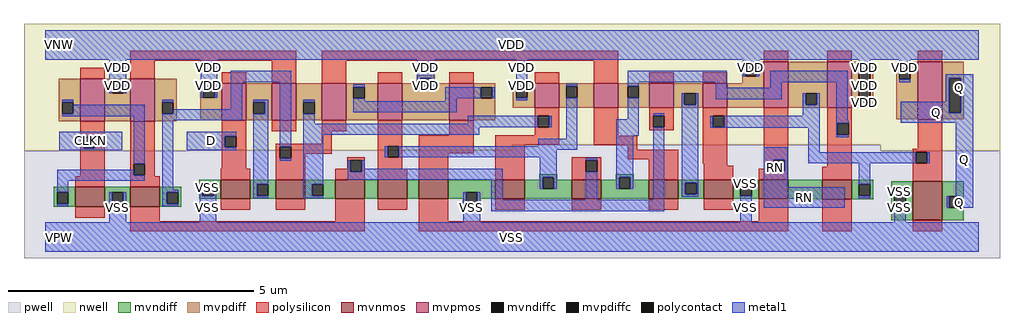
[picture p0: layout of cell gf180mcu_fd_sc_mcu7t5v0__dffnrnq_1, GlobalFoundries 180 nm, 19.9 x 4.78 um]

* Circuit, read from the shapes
.subckt gf180mcu_fd_sc_mcu7t5v0__dffnrnq_1 D RN CLKN Q VDD VNW VPW VSS
XM1 VSS CLKN n1 VPW nfet_06v0 w=0.405u l=0.6u
XM2 n2 n1 VSS VPW nfet_06v0 w=0.405u l=0.6u
XM3 n3 D VSS VPW nfet_06v0 w=0.39u l=0.6u
XM4 n4 n2 n3 VPW nfet_06v0 w=0.39u l=0.6u
XM5 n5 n1 n4 VPW nfet_06v0 w=0.39u l=0.6u
XM6 n6 n7 n5 VPW nfet_06v0 w=0.39u l=0.6u
XM7 VSS RN n6 VPW nfet_06v0 w=0.39u l=0.6u
XM8 n7 n4 VSS VPW nfet_06v0 w=0.39u l=0.6u
XM9 n8 n1 n7 VPW nfet_06v0 w=0.39u l=0.6u
XM10 n9 n2 n8 VPW nfet_06v0 w=0.39u l=0.6u
XM11 VSS n10 n9 VPW nfet_06v0 w=0.39u l=0.6u
XM12 n11 RN VSS VPW nfet_06v0 w=0.39u l=0.6u
XM13 n10 n8 n11 VPW nfet_06v0 w=0.4u l=0.6u
XM14 Q n10 VSS VPW nfet_06v0 w=0.795u l=0.6u
XM15 VDD CLKN n1 VNW pfet_06v0 w=0.865u l=0.5u
XM16 n2 n1 VDD VNW pfet_06v0 w=0.865u l=0.5u
XM17 n3 D VDD VNW pfet_06v0 w=0.76u l=0.5u
XM18 n4 n1 n3 VNW pfet_06v0 w=0.76u l=0.5u
XM19 n12 n2 n4 VNW pfet_06v0 w=0.76u l=0.5u
XM20 VDD n7 n12 VNW pfet_06v0 w=0.76u l=0.5u
XM21 n12 RN VDD VNW pfet_06v0 w=0.76u l=0.5u
XM22 n7 n4 VDD VNW pfet_06v0 w=0.505u l=0.5u
XM23 n8 n2 n7 VNW pfet_06v0 w=0.505u l=0.5u
XM24 n9 n1 n8 VNW pfet_06v0 w=0.505u l=0.5u
XM25 VDD n10 n9 VNW pfet_06v0 w=0.505u l=0.5u
XM26 n10 RN VDD VNW pfet_06v0 w=0.94u l=0.5u
XM27 VDD n8 n10 VNW pfet_06v0 w=0.94u l=0.5u
XM28 Q n10 VDD VNW pfet_06v0 w=1.175u l=0.5u
.ends

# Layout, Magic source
magic
tech gf180mcuD
magscale 1 10
<< nwell >>
rect -86 377 3894 870
rect -86 354 1905 377
rect -86 352 592 354
rect 3408 352 3894 377
<< pwell >>
rect 1905 354 3408 377
rect 592 352 3408 354
rect -86 -86 3894 352
<< mvnmos >>
rect 124 124 244 205
rect 348 124 468 205
rect 716 156 836 234
rect 940 156 1060 234
rect 1184 156 1304 234
rect 1356 156 1476 234
rect 1524 156 1644 234
rect 1836 156 1956 234
rect 2148 156 2268 234
rect 2462 156 2582 234
rect 2686 156 2806 234
rect 2910 156 3030 234
rect 3170 154 3290 234
rect 3538 69 3658 228
<< mvpmos >>
rect 144 472 244 645
rect 348 472 448 645
rect 720 476 820 628
rect 924 476 1024 628
rect 1128 476 1228 628
rect 1356 476 1456 628
rect 1648 476 1748 628
rect 1996 527 2096 628
rect 2238 527 2338 628
rect 2463 527 2563 628
rect 2682 527 2782 628
rect 2930 527 3030 715
rect 3190 527 3290 715
rect 3558 481 3658 716
<< mvndiff >>
rect 2016 244 2088 257
rect 2016 234 2029 244
rect 628 215 716 234
rect 36 183 124 205
rect 36 137 49 183
rect 95 137 124 183
rect 36 124 124 137
rect 244 183 348 205
rect 244 137 273 183
rect 319 137 348 183
rect 244 124 348 137
rect 468 183 556 205
rect 468 137 497 183
rect 543 137 556 183
rect 628 169 641 215
rect 687 169 716 215
rect 628 156 716 169
rect 836 215 940 234
rect 836 169 865 215
rect 911 169 940 215
rect 836 156 940 169
rect 1060 215 1184 234
rect 1060 169 1089 215
rect 1135 169 1184 215
rect 1060 156 1184 169
rect 1304 156 1356 234
rect 1476 156 1524 234
rect 1644 183 1836 234
rect 1644 156 1717 183
rect 468 124 556 137
rect 1704 137 1717 156
rect 1763 156 1836 183
rect 1956 198 2029 234
rect 2075 234 2088 244
rect 2328 244 2400 257
rect 2328 234 2341 244
rect 2075 198 2148 234
rect 1956 156 2148 198
rect 2268 198 2341 234
rect 2387 234 2400 244
rect 2387 198 2462 234
rect 2268 156 2462 198
rect 2582 221 2686 234
rect 2582 175 2611 221
rect 2657 175 2686 221
rect 2582 156 2686 175
rect 2806 215 2910 234
rect 2806 169 2835 215
rect 2881 169 2910 215
rect 2806 156 2910 169
rect 3030 156 3170 234
rect 1763 137 1776 156
rect 1704 124 1776 137
rect 3090 154 3170 156
rect 3290 215 3378 234
rect 3290 169 3319 215
rect 3365 169 3378 215
rect 3290 154 3378 169
rect 3450 166 3538 228
rect 3450 120 3463 166
rect 3509 120 3538 166
rect 3450 69 3538 120
rect 3658 166 3746 228
rect 3658 120 3687 166
rect 3733 120 3746 166
rect 3658 69 3746 120
<< mvpdiff >>
rect 56 550 144 645
rect 56 504 69 550
rect 115 504 144 550
rect 56 472 144 504
rect 244 632 348 645
rect 244 586 273 632
rect 319 586 348 632
rect 244 472 348 586
rect 448 550 536 645
rect 1516 647 1588 660
rect 1516 628 1529 647
rect 448 504 477 550
rect 523 504 536 550
rect 448 472 536 504
rect 632 615 720 628
rect 632 569 645 615
rect 691 569 720 615
rect 632 476 720 569
rect 820 549 924 628
rect 820 503 849 549
rect 895 503 924 549
rect 820 476 924 503
rect 1024 549 1128 628
rect 1024 503 1053 549
rect 1099 503 1128 549
rect 1024 476 1128 503
rect 1228 612 1356 628
rect 1228 566 1257 612
rect 1303 566 1356 612
rect 1228 476 1356 566
rect 1456 601 1529 628
rect 1575 628 1588 647
rect 2842 702 2930 715
rect 2842 656 2855 702
rect 2901 656 2930 702
rect 2842 628 2930 656
rect 1575 601 1648 628
rect 1456 476 1648 601
rect 1748 612 1836 628
rect 1748 566 1777 612
rect 1823 566 1836 612
rect 1748 476 1836 566
rect 1908 615 1996 628
rect 1908 569 1921 615
rect 1967 569 1996 615
rect 1908 527 1996 569
rect 2096 615 2238 628
rect 2096 569 2125 615
rect 2171 569 2238 615
rect 2096 527 2238 569
rect 2338 615 2463 628
rect 2338 569 2375 615
rect 2421 569 2463 615
rect 2338 527 2463 569
rect 2563 586 2682 628
rect 2563 540 2607 586
rect 2653 540 2682 586
rect 2563 527 2682 540
rect 2782 527 2930 628
rect 3030 586 3190 715
rect 3030 540 3101 586
rect 3147 540 3190 586
rect 3030 527 3190 540
rect 3290 689 3378 715
rect 3290 549 3319 689
rect 3365 549 3378 689
rect 3290 527 3378 549
rect 3470 689 3558 716
rect 3470 643 3483 689
rect 3529 643 3558 689
rect 3470 481 3558 643
rect 3658 647 3746 716
rect 3658 507 3687 647
rect 3733 507 3746 647
rect 3658 481 3746 507
<< mvndiffc >>
rect 49 137 95 183
rect 273 137 319 183
rect 497 137 543 183
rect 641 169 687 215
rect 865 169 911 215
rect 1089 169 1135 215
rect 1717 137 1763 183
rect 2029 198 2075 244
rect 2341 198 2387 244
rect 2611 175 2657 221
rect 2835 169 2881 215
rect 3319 169 3365 215
rect 3463 120 3509 166
rect 3687 120 3733 166
<< mvpdiffc >>
rect 69 504 115 550
rect 273 586 319 632
rect 477 504 523 550
rect 645 569 691 615
rect 849 503 895 549
rect 1053 503 1099 549
rect 1257 566 1303 612
rect 1529 601 1575 647
rect 2855 656 2901 702
rect 1777 566 1823 612
rect 1921 569 1967 615
rect 2125 569 2171 615
rect 2375 569 2421 615
rect 2607 540 2653 586
rect 3101 540 3147 586
rect 3319 549 3365 689
rect 3483 643 3529 689
rect 3687 507 3733 647
<< polysilicon >>
rect 348 720 1024 760
rect 144 645 244 690
rect 348 645 448 720
rect 720 628 820 672
rect 924 628 1024 720
rect 1128 720 2338 760
rect 1128 628 1228 720
rect 1356 628 1456 672
rect 1648 628 1748 672
rect 1996 628 2096 672
rect 2238 628 2338 720
rect 2930 715 3030 760
rect 3190 715 3290 760
rect 3558 716 3658 760
rect 2463 628 2563 672
rect 2682 628 2782 672
rect 1996 494 2096 527
rect 144 409 244 472
rect 144 363 157 409
rect 203 363 244 409
rect 144 249 244 363
rect 124 205 244 249
rect 348 299 448 472
rect 348 253 361 299
rect 407 253 448 299
rect 720 412 820 476
rect 924 432 1024 476
rect 1128 432 1228 476
rect 720 366 733 412
rect 779 366 820 412
rect 1128 381 1168 432
rect 720 278 820 366
rect 940 368 1168 381
rect 940 322 957 368
rect 1003 341 1168 368
rect 1356 371 1456 476
rect 1648 416 1748 476
rect 1996 448 2009 494
rect 2055 448 2096 494
rect 1996 416 2096 448
rect 1003 322 1060 341
rect 348 249 448 253
rect 348 205 468 249
rect 716 234 836 278
rect 940 234 1060 322
rect 1232 313 1304 326
rect 1232 278 1245 313
rect 1184 267 1245 278
rect 1291 267 1304 313
rect 1184 234 1304 267
rect 1356 325 1397 371
rect 1443 325 1456 371
rect 1356 278 1456 325
rect 1524 343 1748 416
rect 1836 376 2096 416
rect 2238 414 2338 527
rect 2463 494 2563 527
rect 2463 448 2479 494
rect 2525 448 2563 494
rect 2463 435 2563 448
rect 2682 494 2782 527
rect 2682 448 2723 494
rect 2769 448 2782 494
rect 1356 234 1476 278
rect 1524 234 1644 343
rect 1836 234 1956 376
rect 2238 374 2415 414
rect 2375 357 2415 374
rect 2148 313 2268 326
rect 2375 317 2582 357
rect 2148 267 2205 313
rect 2251 267 2268 313
rect 124 80 244 124
rect 348 64 468 124
rect 716 112 836 156
rect 940 112 1060 156
rect 1184 64 1304 156
rect 1356 112 1476 156
rect 348 24 1304 64
rect 1524 64 1644 156
rect 2148 234 2268 267
rect 2462 234 2582 317
rect 2682 301 2782 448
rect 2686 291 2782 301
rect 2930 316 3030 527
rect 2686 234 2806 291
rect 2930 278 2971 316
rect 2910 270 2971 278
rect 3017 270 3030 316
rect 3190 464 3290 527
rect 3190 418 3231 464
rect 3277 418 3290 464
rect 3190 288 3290 418
rect 3558 360 3658 481
rect 2910 234 3030 270
rect 3170 234 3290 288
rect 3538 347 3658 360
rect 3538 301 3551 347
rect 3597 301 3658 347
rect 1836 112 1956 156
rect 2148 112 2268 156
rect 2462 112 2582 156
rect 2686 112 2806 156
rect 2910 64 3030 156
rect 3538 228 3658 301
rect 1524 24 3030 64
rect 3170 24 3290 154
rect 3538 24 3658 69
<< polycontact >>
rect 157 363 203 409
rect 361 253 407 299
rect 733 366 779 412
rect 957 322 1003 368
rect 2009 448 2055 494
rect 1245 267 1291 313
rect 1397 325 1443 371
rect 2479 448 2525 494
rect 2723 448 2769 494
rect 2205 267 2251 313
rect 2971 270 3017 316
rect 3231 418 3277 464
rect 3551 301 3597 347
<< metal1 >>
rect 0 724 3808 844
rect 262 632 330 724
rect 262 586 273 632
rect 319 586 330 632
rect 634 615 702 724
rect 634 569 645 615
rect 691 569 702 615
rect 757 632 1003 678
rect 69 550 115 561
rect 477 550 523 561
rect 115 504 407 540
rect 69 493 407 504
rect 58 409 315 430
rect 58 363 157 409
rect 203 363 315 409
rect 58 354 315 363
rect 361 299 407 493
rect 49 253 361 275
rect 49 229 407 253
rect 757 522 803 632
rect 523 504 803 522
rect 477 476 803 504
rect 849 549 911 560
rect 895 503 911 549
rect 49 183 95 229
rect 477 194 523 476
rect 578 412 779 430
rect 578 366 733 412
rect 578 354 779 366
rect 849 215 911 503
rect 957 368 1003 632
rect 1518 647 1586 724
rect 1257 612 1303 623
rect 1518 601 1529 647
rect 1575 601 1586 647
rect 1921 615 1967 724
rect 2844 702 2912 724
rect 2375 632 2780 678
rect 2844 656 2855 702
rect 2901 656 2912 702
rect 3319 689 3365 724
rect 957 311 1003 322
rect 1053 549 1099 560
rect 1257 555 1303 566
rect 1632 566 1777 612
rect 1823 566 1834 612
rect 1632 555 1678 566
rect 1921 558 1967 569
rect 2125 615 2171 626
rect 1257 509 1678 555
rect 1053 463 1099 503
rect 1724 463 2009 494
rect 1053 448 2009 463
rect 2055 448 2066 494
rect 1053 417 1770 448
rect 477 183 543 194
rect 49 126 95 137
rect 262 137 273 183
rect 319 137 330 183
rect 262 60 330 137
rect 477 137 497 183
rect 477 126 543 137
rect 630 169 641 215
rect 687 169 698 215
rect 630 60 698 169
rect 849 169 865 215
rect 849 158 911 169
rect 1053 215 1135 417
rect 2125 402 2171 569
rect 2375 615 2421 632
rect 2734 610 2780 632
rect 2958 632 3273 678
rect 2958 610 3004 632
rect 2375 481 2421 569
rect 2596 540 2607 586
rect 2653 540 2664 586
rect 2734 563 3004 610
rect 2012 371 2171 402
rect 1386 325 1397 371
rect 1443 356 2171 371
rect 2329 413 2421 481
rect 2479 494 2525 505
rect 1443 325 2086 356
rect 1234 267 1245 313
rect 1291 279 1303 313
rect 1291 267 1866 279
rect 1234 233 1866 267
rect 1053 169 1089 215
rect 1053 158 1135 169
rect 1706 137 1717 183
rect 1763 137 1774 183
rect 1706 60 1774 137
rect 1820 152 1866 233
rect 2018 244 2086 325
rect 2018 198 2029 244
rect 2075 198 2086 244
rect 2205 313 2251 324
rect 2205 152 2251 267
rect 2329 244 2399 413
rect 2329 198 2341 244
rect 2387 198 2399 244
rect 2479 152 2525 448
rect 2596 221 2664 540
rect 3090 540 3101 586
rect 3147 540 3158 586
rect 3090 494 3158 540
rect 2712 448 2723 494
rect 2769 448 3158 494
rect 2712 447 3158 448
rect 2930 316 3028 366
rect 2930 270 2971 316
rect 3017 270 3028 316
rect 3112 347 3158 447
rect 3227 475 3273 632
rect 3483 689 3529 724
rect 3483 632 3529 643
rect 3673 647 3784 664
rect 3673 553 3687 647
rect 3319 538 3365 549
rect 3490 507 3687 553
rect 3733 507 3784 647
rect 3227 464 3277 475
rect 3490 466 3784 507
rect 3227 418 3231 464
rect 3227 407 3277 418
rect 3112 301 3551 347
rect 3597 301 3608 347
rect 2596 175 2611 221
rect 2657 175 2664 221
rect 2596 164 2664 175
rect 2835 215 2881 226
rect 1820 106 2525 152
rect 2835 60 2881 169
rect 2930 204 3028 270
rect 3319 215 3365 301
rect 2930 120 3260 204
rect 3319 158 3365 169
rect 3463 166 3509 186
rect 3714 166 3784 466
rect 3676 120 3687 166
rect 3733 120 3784 166
rect 3463 60 3509 120
rect 0 -60 3808 60
<< labels >>
flabel metal1 s 578 354 779 430 0 FreeSans 600 0 0 0 D
port 1 nsew default input
flabel metal1 s 2835 215 2881 226 0 FreeSans 600 0 0 0 VSS
port 8 nsew ground bidirectional abutment
flabel metal1 s 58 354 315 430 0 FreeSans 600 0 0 0 CLKN
port 3 nsew clock input
flabel metal1 s 2930 204 3028 366 0 FreeSans 600 0 0 0 RN
port 2 nsew default input
flabel metal1 s 3673 553 3784 664 0 FreeSans 600 0 0 0 Q
port 4 nsew default output
flabel metal1 s 0 724 3808 844 0 FreeSans 600 0 0 0 VDD
port 5 nsew power bidirectional abutment
flabel nwell s 10 734 110 834 0 FreeSans 400 0 0 0 VNW
port 6 nsew power bidirectional
flabel pwell s 10 -50 110 50 0 FreeSans 400 0 0 0 VPW
port 7 nsew ground bidirectional
rlabel metal1 s 2930 120 3260 204 1 RN
port 2 nsew default input
rlabel metal1 s 3490 466 3784 553 1 Q
port 4 nsew default output
rlabel metal1 s 3714 166 3784 466 1 Q
port 4 nsew default output
rlabel metal1 s 3676 120 3784 166 1 Q
port 4 nsew default output
rlabel metal1 s 3483 656 3529 724 1 VDD
port 5 nsew power bidirectional abutment
rlabel metal1 s 3319 656 3365 724 1 VDD
port 5 nsew power bidirectional abutment
rlabel metal1 s 2844 656 2912 724 1 VDD
port 5 nsew power bidirectional abutment
rlabel metal1 s 1921 656 1967 724 1 VDD
port 5 nsew power bidirectional abutment
rlabel metal1 s 1518 656 1586 724 1 VDD
port 5 nsew power bidirectional abutment
rlabel metal1 s 634 656 702 724 1 VDD
port 5 nsew power bidirectional abutment
rlabel metal1 s 262 656 330 724 1 VDD
port 5 nsew power bidirectional abutment
rlabel metal1 s 3483 632 3529 656 1 VDD
port 5 nsew power bidirectional abutment
rlabel metal1 s 3319 632 3365 656 1 VDD
port 5 nsew power bidirectional abutment
rlabel metal1 s 1921 632 1967 656 1 VDD
port 5 nsew power bidirectional abutment
rlabel metal1 s 1518 632 1586 656 1 VDD
port 5 nsew power bidirectional abutment
rlabel metal1 s 634 632 702 656 1 VDD
port 5 nsew power bidirectional abutment
rlabel metal1 s 262 632 330 656 1 VDD
port 5 nsew power bidirectional abutment
rlabel metal1 s 3319 601 3365 632 1 VDD
port 5 nsew power bidirectional abutment
rlabel metal1 s 1921 601 1967 632 1 VDD
port 5 nsew power bidirectional abutment
rlabel metal1 s 1518 601 1586 632 1 VDD
port 5 nsew power bidirectional abutment
rlabel metal1 s 634 601 702 632 1 VDD
port 5 nsew power bidirectional abutment
rlabel metal1 s 262 601 330 632 1 VDD
port 5 nsew power bidirectional abutment
rlabel metal1 s 3319 586 3365 601 1 VDD
port 5 nsew power bidirectional abutment
rlabel metal1 s 1921 586 1967 601 1 VDD
port 5 nsew power bidirectional abutment
rlabel metal1 s 634 586 702 601 1 VDD
port 5 nsew power bidirectional abutment
rlabel metal1 s 262 586 330 601 1 VDD
port 5 nsew power bidirectional abutment
rlabel metal1 s 3319 569 3365 586 1 VDD
port 5 nsew power bidirectional abutment
rlabel metal1 s 1921 569 1967 586 1 VDD
port 5 nsew power bidirectional abutment
rlabel metal1 s 634 569 702 586 1 VDD
port 5 nsew power bidirectional abutment
rlabel metal1 s 3319 558 3365 569 1 VDD
port 5 nsew power bidirectional abutment
rlabel metal1 s 1921 558 1967 569 1 VDD
port 5 nsew power bidirectional abutment
rlabel metal1 s 3319 538 3365 558 1 VDD
port 5 nsew power bidirectional abutment
rlabel metal1 s 2835 186 2881 215 1 VSS
port 8 nsew ground bidirectional abutment
rlabel metal1 s 630 186 698 215 1 VSS
port 8 nsew ground bidirectional abutment
rlabel metal1 s 3463 183 3509 186 1 VSS
port 8 nsew ground bidirectional abutment
rlabel metal1 s 2835 183 2881 186 1 VSS
port 8 nsew ground bidirectional abutment
rlabel metal1 s 630 183 698 186 1 VSS
port 8 nsew ground bidirectional abutment
rlabel metal1 s 3463 60 3509 183 1 VSS
port 8 nsew ground bidirectional abutment
rlabel metal1 s 2835 60 2881 183 1 VSS
port 8 nsew ground bidirectional abutment
rlabel metal1 s 1706 60 1774 183 1 VSS
port 8 nsew ground bidirectional abutment
rlabel metal1 s 630 60 698 183 1 VSS
port 8 nsew ground bidirectional abutment
rlabel metal1 s 262 60 330 183 1 VSS
port 8 nsew ground bidirectional abutment
rlabel metal1 s 0 -60 3808 60 1 VSS
port 8 nsew ground bidirectional abutment
<< properties >>
string FIXED_BBOX 0 0 3808 784
string GDS_END 890538
string GDS_FILE $PDKPATH/libs.ref/gf180mcu_fd_sc_mcu7t5v0/gds/gf180mcu_fd_sc_mcu7t5v0.gds
string GDS_START 882072
string LEFclass core
string LEFsite GF018hv5v_mcu_sc7
string LEFsymmetry X Y
<< end >>
